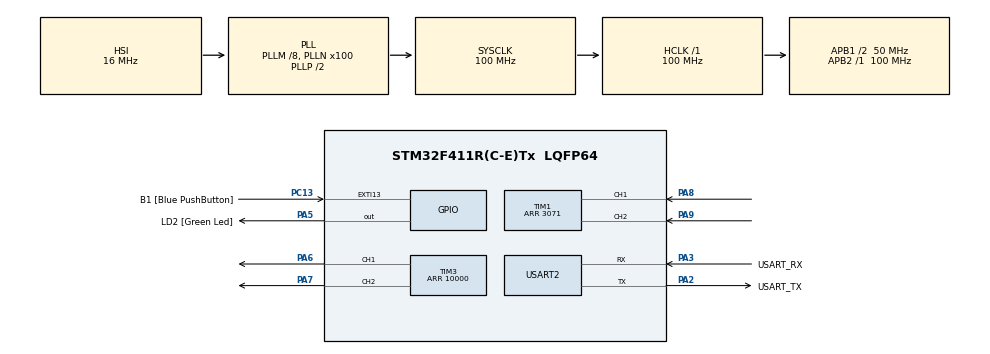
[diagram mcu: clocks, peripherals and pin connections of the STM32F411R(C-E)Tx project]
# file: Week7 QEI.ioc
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Mcu.Family=STM32F4
RCC.CortexFreq_Value=100000000
PA14.GPIO_Label=TCK
TIM1.EncoderMode=TIM_ENCODERMODE_TI12
RCC.SYSCLKSource=RCC_SYSCLKSOURCE_PLLCLK
ProjectManager.StackSize=0x400
PH0\ -\ OSC_IN.Signal=RCC_OSC_IN
RCC.HCLKFreq_Value=100000000
RCC.APB2TimFreq_Value=100000000
TIM3.Period=10000
RCC.AHBFreq_Value=100000000
TIM3.Channel-PWM\ Generation1\ CH1=TIM_CHANNEL_1
NVIC.TIM1_TRG_COM_TIM11_IRQn=true\:0\:0\:false\:false\:true\:true\:true
RCC.HSE_VALUE=8000000
PC13-ANTI_TAMP.Signal=GPXTI13
PC14-OSC32_IN.Mode=LSE-External-Oscillator
PA14.Mode=Serial_Wire
NVIC.TIM2_IRQn=true\:0\:0\:false\:false\:true\:true\:true
PA8.Signal=S_TIM1_CH1
SH.S_TIM3_CH1.0=TIM3_CH1,PWM Generation1 CH1
RCC.FLatency-AdvancedSettings=FLASH_LATENCY_3
Mcu.Package=LQFP64
TIM2.Prescaler=99
PA6.Signal=S_TIM3_CH1
USART2.VirtualMode=VM_ASYNC
PA2.GPIO_Label=USART_TX
RCC.APB1TimFreq_Value=100000000
TIM1.Period=3071
PA3.Signal=USART2_RX
PB3.GPIO_Label=SWO
PC15-OSC32_OUT.Mode=LSE-External-Oscillator
PC13-ANTI_TAMP.GPIO_Label=B1 [Blue PushButton]
PH1\ -\ OSC_OUT.Mode=HSE-External-Clock-Source
TIM11.Prescaler=99
RCC.APB1CLKDivider=RCC_HCLK_DIV2
PC14-OSC32_IN.Signal=RCC_OSC32_IN
VP_TIM11_VS_ClockSourceINT.Mode=Enable_Timer
PA13.Signal=SYS_JTMS-SWDIO
PA3.Mode=Asynchronous
PH0\ -\ OSC_IN.Mode=HSE-External-Clock-Source
SH.S_TIM1_CH1.0=TIM1_CH1,Encoder_Interface
ProjectManager.TargetToolchain=STM32CubeIDE
PA9.Signal=S_TIM1_CH2
PC15-OSC32_OUT.Signal=RCC_OSC32_OUT
PA5.Signal=GPIO_Output
SH.S_TIM3_CH2.0=TIM3_CH2,PWM Generation2 CH2
PH1\ -\ OSC_OUT.Signal=RCC_OSC_OUT
board=NUCLEO-F411RE
RCC.VCOOutputFreq_Value=200000000
TIM11.Period=1000
RCC.APB2Freq_Value=100000000
SH.S_TIM1_CH2.0=TIM1_CH2,Encoder_Interface
VP_TIM2_VS_ClockSourceINT.Mode=Internal
PA13.Mode=Serial_Wire
Mcu.Name=STM32F411R(C-E)Tx
PA13.GPIO_Label=TMS
PA2.Signal=USART2_TX
RCC.48MHZClocksFreq_Value=50000000
PB3.Signal=SYS_JTDO-SWO
RCC.SYSCLKFreq_VALUE=100000000
PA5.GPIO_Label=LD2 [Green Led]
PC13-ANTI_TAMP.GPIO_ModeDefaultEXTI=GPIO_MODE_IT_FALLING
PA14.Signal=SYS_JTCK-SWCLK
ProjectManager.HeapSize=0x200
RCC.HSI_VALUE=16000000
NVIC.PriorityGroup=NVIC_PRIORITYGROUP_0
TIM3.Channel-PWM\ Generation2\ CH2=TIM_CHANNEL_2
RCC.PLLM=8
RCC.PLLN=100
PA2.Mode=Asynchronous
RCC.APB1Freq_Value=50000000
PA3.GPIO_Label=USART_RX
PA7.Signal=S_TIM3_CH2

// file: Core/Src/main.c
/* USER CODE BEGIN Header */
/**
 ******************************************************************************
 * @file           : main.c
 * @brief          : Main program body
 ******************************************************************************
 * @attention
 *
 * <h2><center>&copy; Copyright (c) 2021 STMicroelectronics.
 * All rights reserved.</center></h2>
 *
 * This software component is licensed by ST under BSD 3-Clause license,
 * the "License"; You may not use this file except in compliance with the
 * License. You may obtain a copy of the License at:
 *                        opensource.org/licenses/BSD-3-Clause
 *
 ******************************************************************************
 */
/* USER CODE END Header */
#include "main.h"

TIM_HandleTypeDef htim1;
TIM_HandleTypeDef htim2;
TIM_HandleTypeDef htim3;
TIM_HandleTypeDef htim11;

UART_HandleTypeDef huart2;

/* USER CODE BEGIN PV */
uint64_t _micros = 0;
float EncoderVel = 0;
uint64_t Timestamp_Encoder = 0;
uint64_t Timestamp_Encoder2 = 0;
float realVel=0;
float Kp=0,Ki=0,Kd=0;
float err=0 ,sumerr=0;
float diferr[3]={0};
float wantVel=0;
float PWMOut=0;
float writePWMOut=0;
float writeVel=0;
/* USER CODE END PV */

void SystemClock_Config(void);
static void MX_GPIO_Init(void);
static void MX_USART2_UART_Init(void);
static void MX_TIM1_Init(void);
static void MX_TIM2_Init(void);
static void MX_TIM3_Init(void);
static void MX_TIM11_Init(void);
/* USER CODE BEGIN PFP */
uint64_t micros();
float EncoderVelocity_Update();

/* USER CODE END PFP */

int main(void)
{

  /* MCU Configuration--------------------------------------------------------*/

  /* Reset of all peripherals, Initializes the Flash interface and the Systick. */
  HAL_Init();

  /* Configure the system clock */
  SystemClock_Config();

  /* Initialize all configured peripherals */
  MX_GPIO_Init();
  MX_USART2_UART_Init();
  MX_TIM1_Init();
  MX_TIM2_Init();
  MX_TIM3_Init();
  MX_TIM11_Init();
  /* USER CODE BEGIN 2 */
	HAL_TIM_Base_Start_IT(&htim2);
	HAL_TIM_Encoder_Start(&htim1, TIM_CHANNEL_ALL);

	// start pwm
		HAL_TIM_Base_Start(&htim3);
		HAL_TIM_PWM_Start(&htim3, TIM_CHANNEL_1);
		HAL_TIM_PWM_Start(&htim3, TIM_CHANNEL_2);
	// pwm interup
		HAL_TIM_Base_Start_IT(&htim11);
  /* USER CODE END 2 */

  /* Infinite loop */
	while (1)
	{

    /* USER CODE BEGIN 3 */

		//RAW Read
//		if (micros() - Timestamp_Encoder >= 1000)
//		{
//			Timestamp_Encoder = micros();
//			EncoderVel = EncoderVelocity_Update();
//		}

		//Add LPF?
		if (micros() - Timestamp_Encoder >= 100)
		{
			Timestamp_Encoder = micros();
			EncoderVel = (EncoderVel * 149 + EncoderVelocity_Update()) / 150;
			realVel= EncoderVel*60/3072;
		}

		if (micros() - Timestamp_Encoder2 >= 10000)
				{
			Timestamp_Encoder2 = micros();
//			writePWMOut=PWMOut;
//			writeVel=realVel;
			if (wantVel>=0)
			{
				__HAL_TIM_SET_COMPARE(&htim3, TIM_CHANNEL_1, PWMOut);
				__HAL_TIM_SET_COMPARE(&htim3, TIM_CHANNEL_2, 0);
			}
			else if (wantVel<0)
			{
				__HAL_TIM_SET_COMPARE(&htim3, TIM_CHANNEL_1, 0);
				__HAL_TIM_SET_COMPARE(&htim3, TIM_CHANNEL_2, -PWMOut);
			}
				}

	}
  /* USER CODE END 3 */
}

void SystemClock_Config(void)
{
  RCC_OscInitTypeDef RCC_OscInitStruct = {0};
  RCC_ClkInitTypeDef RCC_ClkInitStruct = {0};

  /** Configure the main internal regulator output voltage
  */
  __HAL_RCC_PWR_CLK_ENABLE();
  __HAL_PWR_VOLTAGESCALING_CONFIG(PWR_REGULATOR_VOLTAGE_SCALE1);
  /** Initializes the RCC Oscillators according to the specified parameters
  * in the RCC_OscInitTypeDef structure.
  */
  RCC_OscInitStruct.OscillatorType = RCC_OSCILLATORTYPE_HSI;
  RCC_OscInitStruct.HSIState = RCC_HSI_ON;
  RCC_OscInitStruct.HSICalibrationValue = RCC_HSICALIBRATION_DEFAULT;
  RCC_OscInitStruct.PLL.PLLState = RCC_PLL_ON;
  RCC_OscInitStruct.PLL.PLLSource = RCC_PLLSOURCE_HSI;
  RCC_OscInitStruct.PLL.PLLM = 8;
  RCC_OscInitStruct.PLL.PLLN = 100;
  RCC_OscInitStruct.PLL.PLLP = RCC_PLLP_DIV2;
  RCC_OscInitStruct.PLL.PLLQ = 4;
  if (HAL_RCC_OscConfig(&RCC_OscInitStruct) != HAL_OK)
  {
    Error_Handler();
  }
  /** Initializes the CPU, AHB and APB buses clocks
  */
  RCC_ClkInitStruct.ClockType = RCC_CLOCKTYPE_HCLK|RCC_CLOCKTYPE_SYSCLK
                              |RCC_CLOCKTYPE_PCLK1|RCC_CLOCKTYPE_PCLK2;
  RCC_ClkInitStruct.SYSCLKSource = RCC_SYSCLKSOURCE_PLLCLK;
  RCC_ClkInitStruct.AHBCLKDivider = RCC_SYSCLK_DIV1;
  RCC_ClkInitStruct.APB1CLKDivider = RCC_HCLK_DIV2;
  RCC_ClkInitStruct.APB2CLKDivider = RCC_HCLK_DIV1;

  if (HAL_RCC_ClockConfig(&RCC_ClkInitStruct, FLASH_LATENCY_3) != HAL_OK)
  {
    Error_Handler();
  }
}

static void MX_TIM1_Init(void)
{

  TIM_Encoder_InitTypeDef sConfig = {0};
  TIM_MasterConfigTypeDef sMasterConfig = {0};

  htim1.Instance = TIM1;
  htim1.Init.Prescaler = 0;
  htim1.Init.CounterMode = TIM_COUNTERMODE_UP;
  htim1.Init.Period = 3071;
  htim1.Init.ClockDivision = TIM_CLOCKDIVISION_DIV1;
  htim1.Init.RepetitionCounter = 0;
  htim1.Init.AutoReloadPreload = TIM_AUTORELOAD_PRELOAD_DISABLE;
  sConfig.EncoderMode = TIM_ENCODERMODE_TI12;
  sConfig.IC1Polarity = TIM_ICPOLARITY_RISING;
  sConfig.IC1Selection = TIM_ICSELECTION_DIRECTTI;
  sConfig.IC1Prescaler = TIM_ICPSC_DIV1;
  sConfig.IC1Filter = 0;
  sConfig.IC2Polarity = TIM_ICPOLARITY_RISING;
  sConfig.IC2Selection = TIM_ICSELECTION_DIRECTTI;
  sConfig.IC2Prescaler = TIM_ICPSC_DIV1;
  sConfig.IC2Filter = 0;
  if (HAL_TIM_Encoder_Init(&htim1, &sConfig) != HAL_OK)
  {
    Error_Handler();
  }
  sMasterConfig.MasterOutputTrigger = TIM_TRGO_RESET;
  sMasterConfig.MasterSlaveMode = TIM_MASTERSLAVEMODE_DISABLE;
  if (HAL_TIMEx_MasterConfigSynchronization(&htim1, &sMasterConfig) != HAL_OK)
  {
    Error_Handler();
  }

}

static void MX_TIM2_Init(void)
{

  TIM_ClockConfigTypeDef sClockSourceConfig = {0};
  TIM_MasterConfigTypeDef sMasterConfig = {0};

  htim2.Instance = TIM2;
  htim2.Init.Prescaler = 99;
  htim2.Init.CounterMode = TIM_COUNTERMODE_UP;
  htim2.Init.Period = 4294967295;
  htim2.Init.ClockDivision = TIM_CLOCKDIVISION_DIV1;
  htim2.Init.AutoReloadPreload = TIM_AUTORELOAD_PRELOAD_DISABLE;
  if (HAL_TIM_Base_Init(&htim2) != HAL_OK)
  {
    Error_Handler();
  }
  sClockSourceConfig.ClockSource = TIM_CLOCKSOURCE_INTERNAL;
  if (HAL_TIM_ConfigClockSource(&htim2, &sClockSourceConfig) != HAL_OK)
  {
    Error_Handler();
  }
  sMasterConfig.MasterOutputTrigger = TIM_TRGO_RESET;
  sMasterConfig.MasterSlaveMode = TIM_MASTERSLAVEMODE_DISABLE;
  if (HAL_TIMEx_MasterConfigSynchronization(&htim2, &sMasterConfig) != HAL_OK)
  {
    Error_Handler();
  }

}

static void MX_TIM3_Init(void)
{

  TIM_MasterConfigTypeDef sMasterConfig = {0};
  TIM_OC_InitTypeDef sConfigOC = {0};

  htim3.Instance = TIM3;
  htim3.Init.Prescaler = 0;
  htim3.Init.CounterMode = TIM_COUNTERMODE_UP;
  htim3.Init.Period = 10000;
  htim3.Init.ClockDivision = TIM_CLOCKDIVISION_DIV1;
  htim3.Init.AutoReloadPreload = TIM_AUTORELOAD_PRELOAD_DISABLE;
  if (HAL_TIM_PWM_Init(&htim3) != HAL_OK)
  {
    Error_Handler();
  }
  sMasterConfig.MasterOutputTrigger = TIM_TRGO_RESET;
  sMasterConfig.MasterSlaveMode = TIM_MASTERSLAVEMODE_DISABLE;
  if (HAL_TIMEx_MasterConfigSynchronization(&htim3, &sMasterConfig) != HAL_OK)
  {
    Error_Handler();
  }
  sConfigOC.OCMode = TIM_OCMODE_PWM1;
  sConfigOC.Pulse = 0;
  sConfigOC.OCPolarity = TIM_OCPOLARITY_HIGH;
  sConfigOC.OCFastMode = TIM_OCFAST_DISABLE;
  if (HAL_TIM_PWM_ConfigChannel(&htim3, &sConfigOC, TIM_CHANNEL_1) != HAL_OK)
  {
    Error_Handler();
  }
  if (HAL_TIM_PWM_ConfigChannel(&htim3, &sConfigOC, TIM_CHANNEL_2) != HAL_OK)
  {
    Error_Handler();
  }
  HAL_TIM_MspPostInit(&htim3);

}

static void MX_TIM11_Init(void)
{

  htim11.Instance = TIM11;
  htim11.Init.Prescaler = 99;
  htim11.Init.CounterMode = TIM_COUNTERMODE_UP;
  htim11.Init.Period = 1000;
  htim11.Init.ClockDivision = TIM_CLOCKDIVISION_DIV1;
  htim11.Init.AutoReloadPreload = TIM_AUTORELOAD_PRELOAD_DISABLE;
  if (HAL_TIM_Base_Init(&htim11) != HAL_OK)
  {
    Error_Handler();
  }

}

static void MX_USART2_UART_Init(void)
{

  huart2.Instance = USART2;
  huart2.Init.BaudRate = 115200;
  huart2.Init.WordLength = UART_WORDLENGTH_8B;
  huart2.Init.StopBits = UART_STOPBITS_1;
  huart2.Init.Parity = UART_PARITY_NONE;
  huart2.Init.Mode = UART_MODE_TX_RX;
  huart2.Init.HwFlowCtl = UART_HWCONTROL_NONE;
  huart2.Init.OverSampling = UART_OVERSAMPLING_16;
  if (HAL_UART_Init(&huart2) != HAL_OK)
  {
    Error_Handler();
  }

}

static void MX_GPIO_Init(void)
{
  GPIO_InitTypeDef GPIO_InitStruct = {0};

  /* GPIO Ports Clock Enable */
  __HAL_RCC_GPIOC_CLK_ENABLE();
  __HAL_RCC_GPIOH_CLK_ENABLE();
  __HAL_RCC_GPIOA_CLK_ENABLE();
  __HAL_RCC_GPIOB_CLK_ENABLE();

  /*Configure GPIO pin Output Level */
  HAL_GPIO_WritePin(LD2_GPIO_Port, LD2_Pin, GPIO_PIN_RESET);

  /*Configure GPIO pin : B1_Pin */
  GPIO_InitStruct.Pin = B1_Pin;
  GPIO_InitStruct.Mode = GPIO_MODE_IT_FALLING;
  GPIO_InitStruct.Pull = GPIO_NOPULL;
  HAL_GPIO_Init(B1_GPIO_Port, &GPIO_InitStruct);

  /*Configure GPIO pin : LD2_Pin */
  GPIO_InitStruct.Pin = LD2_Pin;
  GPIO_InitStruct.Mode = GPIO_MODE_OUTPUT_PP;
  GPIO_InitStruct.Pull = GPIO_NOPULL;
  GPIO_InitStruct.Speed = GPIO_SPEED_FREQ_LOW;
  HAL_GPIO_Init(LD2_GPIO_Port, &GPIO_InitStruct);

}

/* USER CODE BEGIN 4 */
#define  HTIM_ENCODER htim1
#define  MAX_SUBPOSITION_OVERFLOW 1536
#define  MAX_ENCODER_PERIOD 3072

float EncoderVelocity_Update()
{
	//Save Last state
	static uint32_t EncoderLastPosition = 0;
	static uint64_t EncoderLastTimestamp = 0;

	//read data
	uint32_t EncoderNowPosition = HTIM_ENCODER.Instance->CNT;
	uint64_t EncoderNowTimestamp = micros();

	int32_t EncoderPositionDiff;
	uint64_t EncoderTimeDiff;

	EncoderTimeDiff = EncoderNowTimestamp - EncoderLastTimestamp;
	EncoderPositionDiff = EncoderNowPosition - EncoderLastPosition;

	//compensate overflow and underflow
	if (EncoderPositionDiff >= MAX_SUBPOSITION_OVERFLOW)
	{
		EncoderPositionDiff -= MAX_ENCODER_PERIOD;
	}
	else if (-EncoderPositionDiff >= MAX_SUBPOSITION_OVERFLOW)
	{
		EncoderPositionDiff += MAX_ENCODER_PERIOD;
	}

	//Update Position and time
	EncoderLastPosition = EncoderNowPosition;
	EncoderLastTimestamp = EncoderNowTimestamp;

	//Calculate velocity
	//EncoderTimeDiff is in uS
	return (EncoderPositionDiff * 1000000) / (float) EncoderTimeDiff;

}

void HAL_TIM_PeriodElapsedCallback(TIM_HandleTypeDef *htim)
{
	if (htim == &htim2)
	{
		_micros += 4294967295;
	}
	if (htim == &htim11)//1000hz
	{
		err= wantVel-realVel;
		sumerr=sumerr+(err*0.001);
		diferr[1]=err;
		diferr[0]=(diferr[1]-diferr[2])/0.001;
		PWMOut =(Kp*err)+(Ki*sumerr)+(Kd*diferr[0]);

		diferr[2]=err;
	}
}
uint64_t micros()
{
	return _micros + htim2.Instance->CNT;
}
/* USER CODE END 4 */

void Error_Handler(void)
{
	__disable_irq();
	while (1)
	{
	}
}

/************************ (C) COPYRIGHT STMicroelectronics *****END OF FILE****/
